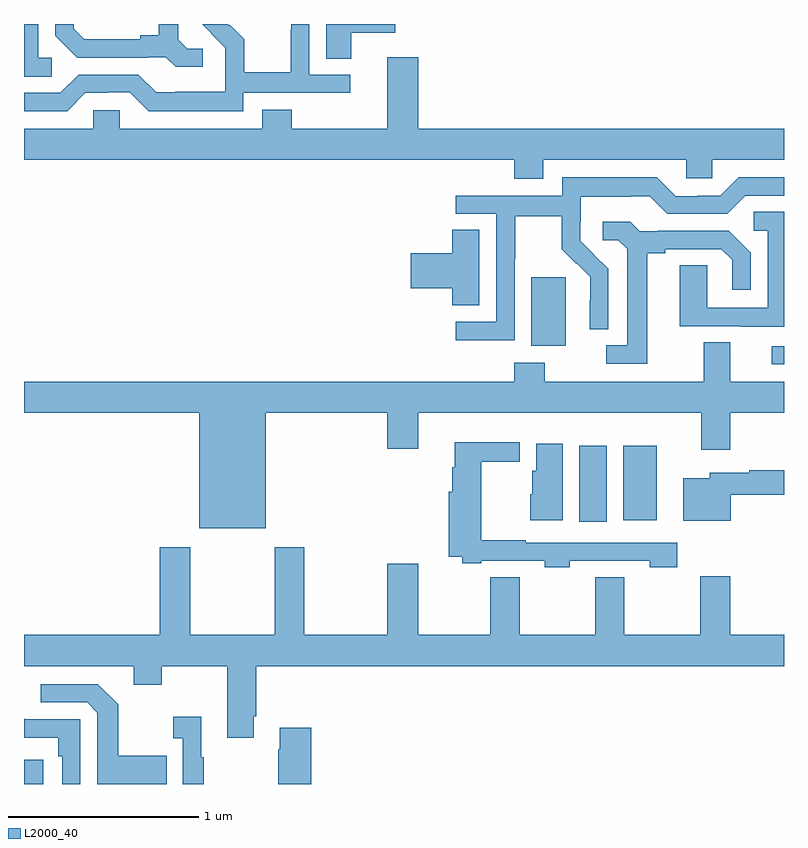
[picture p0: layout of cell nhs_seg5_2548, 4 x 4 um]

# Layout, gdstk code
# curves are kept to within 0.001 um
import gdstk
lib = gdstk.Library(unit=1e-6, precision=1e-09)
def R(c, l, rs):  # rectangles x0, y0, x1, y1
    for r in rs: c.add(gdstk.rectangle(r[:2], r[2:], *l))
def P(c, l, *ps):  # polygons
    for p in ps: c.add(gdstk.Polygon(p, *l))
L2000_40 = (2000, 40)

nhs_seg5_2548 = lib.new_cell('nhs_seg5_2548')
R(nhs_seg5_2548, L2000_40, [(259,862.799,259.102,862.926), (261.923,864.18,262.066,864.58), (262.154,864.188,262.33,864.58), (262.935,865.008,263,865.104), (261.671,865.106,261.85,865.467)])
P(nhs_seg5_2548, L2000_40, [(259.147,866.622),(259.074,866.622),(259.074,866.799),(259,866.799),(259,866.521),(259.147,866.521)],
  [(260.722,866.753),(260.953,866.753),(260.953,866.799),(260.591,866.799),(260.591,866.617),(260.722,866.617)],
  [(260.154,866.436),(260.716,866.436),(260.716,866.532),(260.502,866.532),(260.502,866.799),(260.406,866.799),(260.406,866.768),(260.404,866.768),(260.404,866.545),(260.159,866.545),(260.159,866.719),(260.082,866.796),(260.079,866.793),(260.073,866.799),(259.937,866.799),(260.06,866.674),(260.06,866.577),(260.058,866.577),(260.058,866.443),(259.795,866.443),(259.795,866.439),(259.695,866.439),(259.602,866.532),(259.287,866.532),(259.191,866.436),(259,866.436),(259,866.34),(259.227,866.34),(259.323,866.436),(259.442,866.436),(259.442,866.439),(259.557,866.439),(259.657,866.339),(260.154,866.339)],
  [(259.942,866.67),(259.86,866.67),(259.813,866.717),(259.813,866.799),(259.709,866.799),(259.709,866.741),(259.613,866.741),(259.613,866.718),(259.318,866.718),(259.261,866.775),(259.261,866.799),(259.164,866.799),(259.164,866.738),(259.28,866.622),(259.652,866.622),(259.652,866.625),(259.746,866.625),(259.798,866.573),(259.942,866.573)],
  [(261.733,866.084),(262.485,866.084),(262.485,865.986),(262.623,865.986),(262.623,866.084),(263,866.084),(263,866.248),(261.076,866.248),(261.076,866.623),(260.912,866.623),(260.912,866.248),(260.408,866.248),(260.408,866.347),(260.255,866.347),(260.255,866.248),(259.503,866.248),(259.503,866.346),(259.365,866.346),(259.365,866.248),(259,866.248),(259,866.084),(261.581,866.084),(261.581,865.985),(261.733,865.985)],
  [(261.582,865.564),(261.585,865.564),(261.585,865.788),(261.829,865.788),(261.829,865.613),(261.906,865.536),(261.909,865.539),(261.98,865.469),(261.98,865.346),(261.978,865.346),(261.978,865.192),(262.074,865.192),(262.074,865.51),(261.928,865.658),(261.928,865.755),(261.93,865.755),(261.93,865.889),(262.193,865.889),(262.193,865.893),(262.293,865.893),(262.386,865.8),(262.701,865.8),(262.797,865.896),(263,865.896),(263,865.992),(262.761,865.992),(262.665,865.896),(262.547,865.896),(262.547,865.893),(262.431,865.893),(262.331,865.993),(261.834,865.993),(261.834,865.896),(261.273,865.896),(261.273,865.8),(261.486,865.8),(261.486,865.233),(261.273,865.233),(261.273,865.135),(261.582,865.135)],
  [(263,865.811),(262.842,865.811),(262.842,865.71),(262.914,865.71),(262.914,865.305),(262.596,865.305),(262.596,865.529),(262.451,865.529),(262.451,865.209),(262.775,865.209),(262.775,865.205),(263,865.205)],
  [(262.279,865.592),(262.375,865.592),(262.375,865.614),(262.67,865.614),(262.727,865.557),(262.727,865.401),(262.824,865.401),(262.824,865.594),(262.708,865.71),(262.336,865.71),(262.336,865.707),(262.242,865.707),(262.19,865.759),(262.047,865.759),(262.047,865.662),(262.128,865.662),(262.175,865.615),(262.175,865.107),(262.065,865.107),(262.065,865.011),(262.279,865.011)],
  [(261.397,865.715),(261.254,865.715),(261.254,865.592),(261.036,865.592),(261.036,865.409),(261.254,865.409),(261.254,865.318),(261.397,865.318)],
  [(260.272,864.752),(260.912,864.752),(260.912,864.564),(261.076,864.564),(261.076,864.752),(262.565,864.752),(262.565,864.558),(262.718,864.558),(262.718,864.752),(263,864.752),(263,864.916),(262.717,864.916),(262.717,865.124),(262.577,865.124),(262.577,864.916),(261.741,864.916),(261.741,865.015),(261.581,865.015),(261.581,864.916),(259,864.916),(259,864.752),(259.922,864.752),(259.922,864.146),(260.272,864.146)],
  [(261.873,863.973),(262.293,863.973),(262.293,863.941),(262.438,863.941),(262.438,864.069),(261.641,864.069),(261.641,864.082),(261.406,864.082),(261.406,864.496),(261.61,864.496),(261.61,864.598),(261.266,864.598),(261.266,864.465),(261.254,864.465),(261.254,864.336),(261.236,864.336),(261.236,863.996),(261.306,863.996),(261.306,863.961),(261.406,863.961),(261.406,863.973),(261.741,863.973),(261.741,863.941),(261.873,863.941)],
  [(261.835,864.589),(261.695,864.589),(261.695,864.447),(261.674,864.447),(261.674,864.324),(261.665,864.324),(261.665,864.188),(261.835,864.188)],
  [(262.72,864.322),(263,864.322),(263,864.451),(262.816,864.451),(262.816,864.438),(262.61,864.438),(262.61,864.409),(262.469,864.409),(262.469,864.185),(262.72,864.185)],
  [(260.209,863.155),(260.222,863.155),(260.222,863.42),(263,863.42),(263,863.584),(262.718,863.584),(262.718,863.893),(262.558,863.893),(262.558,863.584),(262.16,863.584),(262.16,863.888),(262.006,863.888),(262.006,863.584),(261.608,863.584),(261.608,863.888),(261.454,863.888),(261.454,863.584),(261.076,863.584),(261.076,863.959),(260.912,863.959),(260.912,863.584),(260.475,863.584),(260.475,864.046),(260.32,864.046),(260.32,863.584),(259.875,863.584),(259.875,864.046),(259.715,864.046),(259.715,863.584),(259,863.584),(259,863.42),(259.577,863.42),(259.577,863.321),(259.725,863.321),(259.725,863.42),(260.069,863.42),(260.069,863.043),(260.209,863.043)],
  [(259.751,862.947),(259.495,862.947),(259.495,863.219),(259.389,863.325),(259.089,863.325),(259.089,863.229),(259.332,863.229),(259.386,863.175),(259.386,862.799),(259.751,862.799)],
  [(259.945,862.939),(259.933,862.939),(259.933,863.152),(259.785,863.152),(259.785,863.039),(259.836,863.039),(259.836,862.799),(259.945,862.799)],
  [(259.296,863.139),(259.001,863.139),(259.001,863.144),(259,863.144),(259,863.043),(259.18,863.043),(259.18,862.946),(259.2,862.946),(259.2,862.799),(259.296,862.799)],
  [(260.513,863.095),(260.345,863.095),(260.345,862.982),(260.338,862.982),(260.338,862.799),(260.513,862.799)])

lib.write_gds('nhs_seg5_2548.gds')
